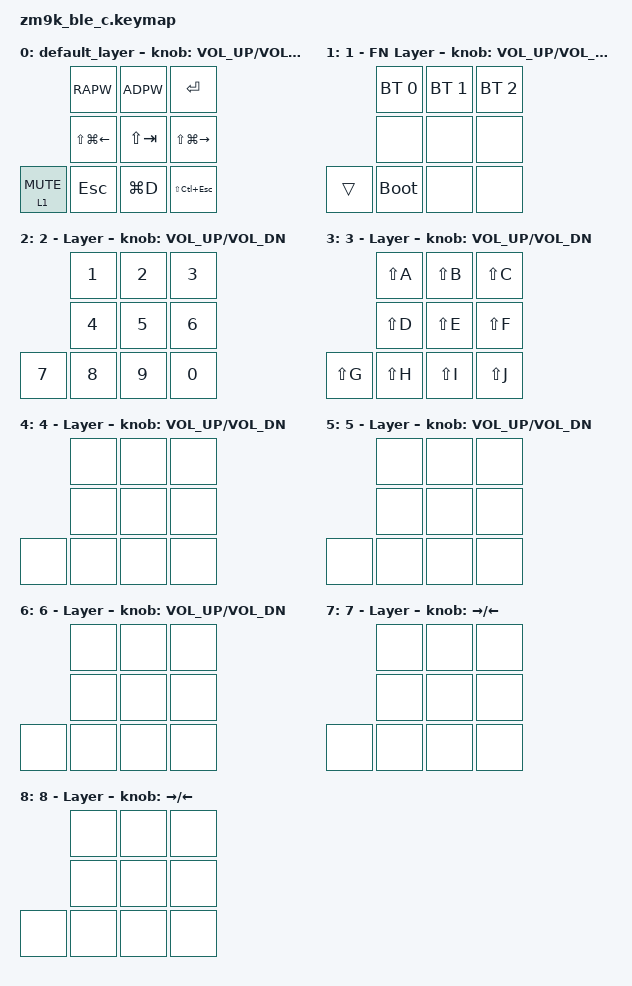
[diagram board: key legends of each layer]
#include <behaviors.dtsi>
#include <dt-bindings/zmk/bt.h>
#include <dt-bindings/zmk/keys.h>

/ {
    behaviors {
        mo_sl: Hold-MOLayer_Tap-SlLayer {
            compatible = "zmk,behavior-hold-tap";
            #binding-cells = <2>;
            flavor = "hold-preferred";
            tapping-term-ms = <200>;
            bindings = <&mo>, <&sl>;
        };

        // ble_s: ble_select{
        //     compatible = "zmk,behavior-hold-tap";
        //     #binding-cells = <2>;
        //     flavor = "hold-preferred";
        //     tapping-term-ms = <200>;
        //     bindings = <&bt 5>, <&bt 5>;
        // };
    };

    macros {
        RAPW: RAPW {
            compatible = "zmk,behavior-macro";
            #binding-cells = <0>;
            bindings = <&kp LS(U) &kp N &kp L &kp I &kp N &kp E &kp D &kp STAR &kp LS(G) &kp R &kp O &kp O &kp V &kp E &kp N4 &kp STAR &kp LS(E) &kp X &kp P &kp L &kp O &kp D &kp E>;
            label = "RAPW";
        };

        ADPW: ADPW {
            compatible = "zmk,behavior-macro";
            #binding-cells = <0>;
            bindings = <&kp LS(B) &kp L &kp I &kp N &kp K &kp S &kp STAR &kp LS(S) &kp E &kp P &kp T &kp E &kp M &kp B &kp E &kp R &kp STAR &kp LS(V) &kp E &kp N &kp T &kp R &kp I &kp C &kp L &kp E &kp N3>;
            label = "ADPW";
        };
    };

    keymap {
        compatible = "zmk,keymap";

        default_layer {
            bindings = <
              &RAPW                   &ADPW        &kp RET
              &kp LS(LG(LEFT_ARROW))  &kp LS(TAB)  &kp LS(LG(RIGHT_ARROW))
&lt 1 C_MUTE  &kp ESC                 &kp LG(D)    &kp LS(LC(ESC))
            >;

            sensor-bindings = <&inc_dec_kp C_VOL_UP C_VOL_DN>;
        };

        fn_layer {
            display-name = "1 - FN Layer";
            bindings = <
        &bt BT_SEL 0  &bt BT_SEL 1  &bt BT_SEL 2
        &none         &none         &none
&trans  &bootloader   &none         &none
            >;

            sensor-bindings = <&inc_dec_kp C_VOL_UP C_VOL_DN>;
        };

        2layer {

        display-name = "2 - Layer";
        bindings = <
                              &kp 1        &kp 2         &kp 3 
                              &kp 4        &kp 5         &kp 6
                &kp 7         &kp 8        &kp 9         &kp 0
        >;

        sensor-bindings = <&inc_dec_kp C_VOL_UP C_VOL_DN>;
    };

    3layer {

    display-name = "3 - Layer";
    bindings = <
                              &kp LS(A)        &kp LS(B)         &kp LS(C) 
                              &kp LS(D)        &kp LS(E)         &kp LS(F)
                &kp LS(G)     &kp LS(H)        &kp LS(I)         &kp LS(J)
    >;

    sensor-bindings = <&inc_dec_kp C_VOL_UP C_VOL_DN>;
};

4

layer {
    display-name = "4 - Layer";
    bindings = <
                              &none        &none         &none
                              &none        &none         &none
                &none         &none        &none         &none
    >;

    sensor-bindings = <&inc_dec_kp C_VOL_UP C_VOL_DN>;
};

5

layer {
    display-name = "5 - Layer";
    bindings = <
                              &none        &none         &none
                              &none        &none         &none
                &none         &none        &none         &none
    >;

    sensor-bindings = <&inc_dec_kp C_VOL_UP C_VOL_DN>;
};

6

layer {
    display-name = "6 - Layer";
    bindings = <
                              &none        &none         &none
                              &none        &none         &none
                &none         &none        &none         &none
    >;

    sensor-bindings = <&inc_dec_kp C_VOL_UP C_VOL_DN>;
};

7

layer {
    display-name = "7 - Layer";
    bindings = <
                              &none        &none         &none
                              &none        &none         &none
                &none         &none        &none         &none
    >;

    sensor-bindings = <&inc_dec_kp RIGHT LEFT>;
};

8

layer {
    display-name = "8 - Layer";
    bindings = <
                              &none        &none         &none
                              &none        &none         &none
                &none         &none        &none         &none
    >;

    sensor-bindings = <&inc_dec_kp RIGHT LEFT>;
};

};
};
